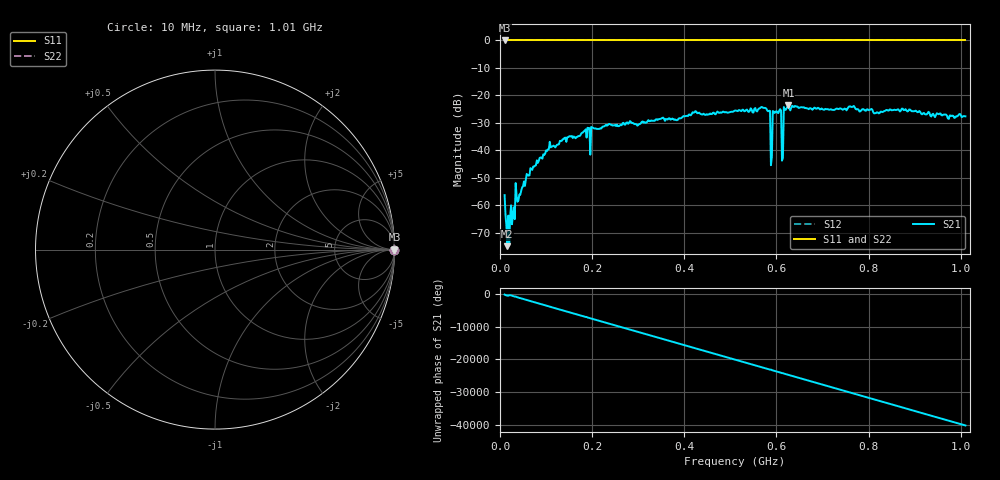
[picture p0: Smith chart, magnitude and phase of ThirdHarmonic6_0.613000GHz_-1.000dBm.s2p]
! 8/15/2025 8:06:55 PM
! C:\ANRITSUVNA\TEMP\TEMP.S2P
! CHANNEL.1
! TR.MEASUREMENT
! RAW.DATA
! RF.CORRECTION.OFF
! AVERAGING.OFF
! IF.BANDWIDTH: 5KHZ
! SWEEPTYPE:  FREQ.SWEEP(Linear)
! Reference Plane Port Info
! PORT:  PORT1  PORT2
! DISTANCE:  0  m  0  m
! TIME:  0  s  0  s
! PHASE.OFFSET:  0  deg.  0  deg.
! LOSS:  0  dB  0  dB
! REF.LOSS:  0  dB  0  dB
! REF.FREQ:  0  Hz  0  Hz
! Power Info
! POWER:  -20  dBm  -20  dBm
! EFF.POWER:  -20  dBm  -20  dBm
! SOURCE.ATTEN:  0  dB  0  dB
! TEST.ATTEN:  0  dB  0  dB
# GHZ S RI R 50.0
! FREQ.GHZ  S11RE  S11IM  S21RE  S21IM  S12RE  S12IM  S22RE  S22IM
!; PortSelection: Port_12
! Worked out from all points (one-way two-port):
!   501 points, 10 MHz to 1.01 GHz, reference 50 ohm
!   highest |S21| = -23.58 dB at 626 MHz (marker M1); lowest = -74.8 dB at 16 MHz (marker M2)
!   lowest |S11| = 0.0 dB at 10 MHz (marker M3)
!   |S11| at or under -10 dB: nowhere
!   |S22| runs from 0.0 to 0.0 dB; largest |S21 - S12| = 1.1
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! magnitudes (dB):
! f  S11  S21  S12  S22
! 10 MHz  0.0  -56.3  0.0  0.0
! 16 MHz  0.0  -74.8  0.0  0.0
! 38 MHz  0.0  -58.7  0.0  0.0
! 42 MHz  0.0  -56.0  0.0  0.0
! 70 MHz  0.0  -47.1  0.0  0.0
! 112 MHz  0.0  -38.7  0.0  0.0
! 178 MHz  0.0  -33.6  0.0  0.0
! 344 MHz  0.0  -28.7  0.0  0.0
! 510 MHz  0.0  -25.5  0.0  0.0
! 574 MHz  0.0  -24.5  0.0  0.0
! 582 MHz  0.0  -25.8  0.0  0.0
! 586 MHz  0.0  -25.6  0.0  0.0
! 592 MHz  0.0  -25.7  0.0  0.0
! 596 MHz  0.0  -26.4  0.0  0.0
! 606 MHz  0.0  -25.5  0.0  0.0
! 610 MHz  0.0  -25.5  0.0  0.0
! 616 MHz  0.0  -24.2  0.0  0.0
! 620 MHz  0.0  -25.3  0.0  0.0
! 626 MHz  0.0  -23.6  0.0  0.0
! 678 MHz  0.0  -25.2  0.0  0.0
! 844 MHz  0.0  -25.5  0.0  0.0
! 1.01 GHz  0.0  -27.6  0.0  0.0
